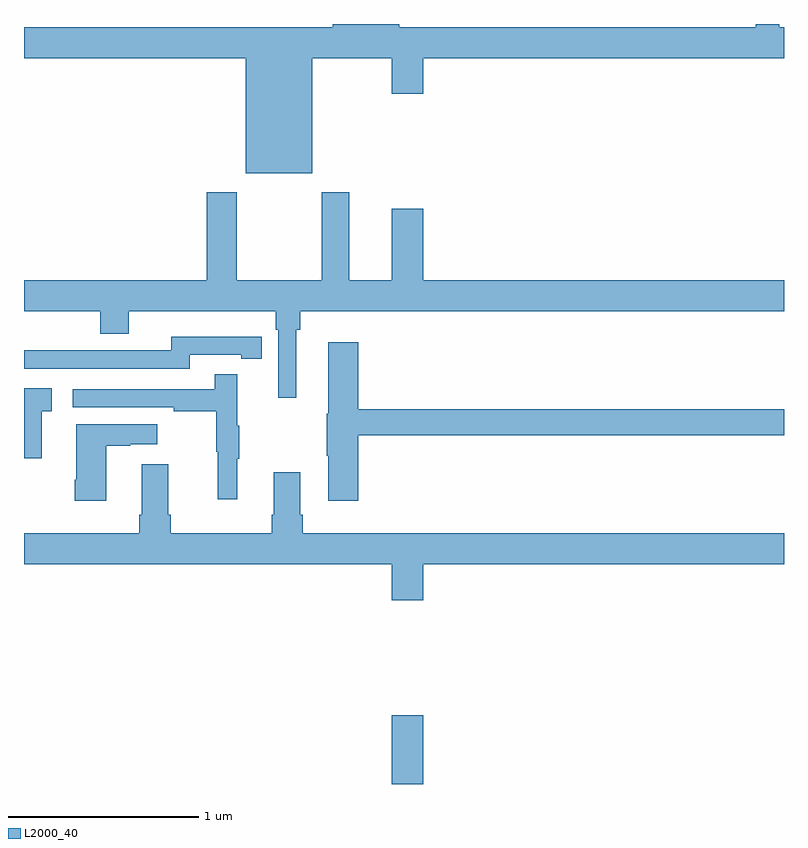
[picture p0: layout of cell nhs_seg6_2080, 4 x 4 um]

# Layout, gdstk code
import gdstk
lib = gdstk.Library(unit=1e-6, precision=1e-09)
def R(c, l, rs):  # rectangles x0, y0, x1, y1
    for r in rs: c.add(gdstk.rectangle(r[:2], r[2:], *l))
def P(c, l, *ps):  # polygons
    for p in ps: c.add(gdstk.Polygon(p, *l))
L2000_40 = (2000, 40)

nhs_seg6_2080 = lib.new_cell('nhs_seg6_2080')
R(nhs_seg6_2080, L2000_40, [(236.936,959.5,237.1,959.863)])
P(nhs_seg6_2080, L2000_40, [(236.518,963.32),(236.936,963.32),(236.936,963.132),(237.1,963.132),(237.1,963.32),(239,963.32),(239,963.484),(238.975,963.484),(238.975,963.5),(238.85,963.5),(238.85,963.484),(236.974,963.484),(236.974,963.5),(236.624,963.5),(236.624,963.484),(235,963.484),(235,963.32),(236.168,963.32),(236.168,962.714),(236.518,962.714)],
  [(236.434,961.892),(236.453,961.892),(236.453,961.988),(239,961.988),(239,962.152),(237.1,962.152),(237.1,962.527),(236.936,962.527),(236.936,962.152),(236.713,962.152),(236.713,962.614),(236.566,962.614),(236.566,962.152),(236.121,962.152),(236.121,962.614),(235.961,962.614),(235.961,962.152),(235,962.152),(235,961.988),(235.4,961.988),(235.4,961.871),(235.552,961.871),(235.552,961.988),(236.324,961.988),(236.324,961.892),(236.337,961.892),(236.337,961.533),(236.434,961.533)],
  [(235.872,961.758),(236.144,961.758),(236.144,961.738),(236.252,961.738),(236.252,961.854),(236.144,961.854),(236.144,961.855),(235.776,961.855),(235.776,961.782),(235.316,961.782),(235.316,961.784),(235,961.784),(235,961.686),(235.872,961.686)],
  [(236.759,961.336),(239,961.336),(239,961.472),(236.759,961.472),(236.759,961.825),(236.6,961.825),(236.6,961.449),(236.593,961.449),(236.593,961.228),(236.6,961.228),(236.6,960.99),(236.759,960.99)],
  [(236.123,961.211),(236.134,961.211),(236.134,961.385),(236.123,961.385),(236.123,961.657),(236.005,961.657),(236.005,961.578),(235.257,961.578),(235.257,961.482),(235.789,961.482),(235.789,961.462),(236.013,961.462),(236.013,961.248),(236.02,961.248),(236.02,960.999),(236.123,960.999)],
  [(235.094,961.461),(235.147,961.461),(235.147,961.582),(235,961.582),(235,961.215),(235.094,961.215)],
  [(235.432,961.279),(235.559,961.279),(235.559,961.289),(235.702,961.289),(235.702,961.393),(235.274,961.393),(235.274,961.102),(235.267,961.102),(235.267,960.99),(235.432,960.99)],
  [(237.1,960.656),(239,960.656),(239,960.82),(236.468,960.82),(236.468,960.916),(236.455,960.916),(236.455,961.141),(236.315,961.141),(236.315,960.916),(236.303,960.916),(236.303,960.82),(235.772,960.82),(235.772,960.916),(235.759,960.916),(235.759,961.183),(235.619,961.183),(235.619,960.916),(235.607,960.916),(235.607,960.82),(235,960.82),(235,960.656),(236.936,960.656),(236.936,960.468),(237.1,960.468)])

lib.write_gds('nhs_seg6_2080.gds')
